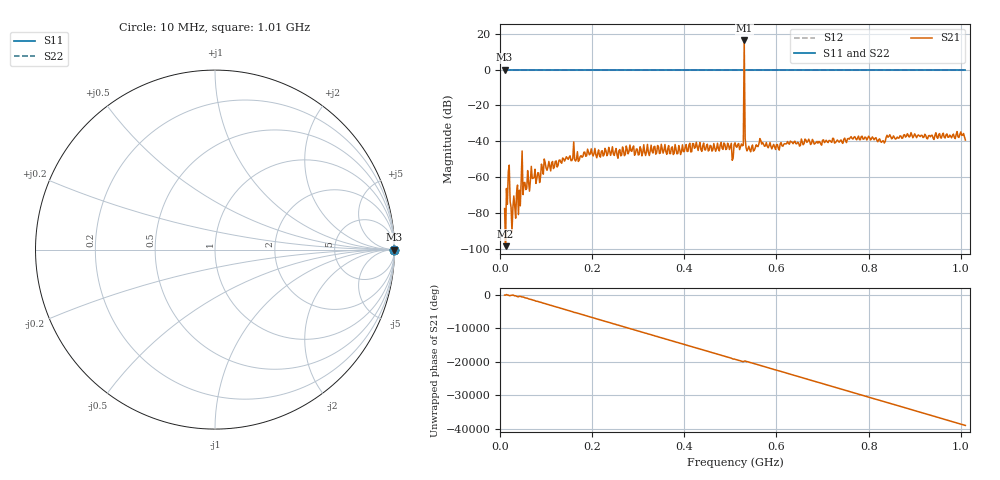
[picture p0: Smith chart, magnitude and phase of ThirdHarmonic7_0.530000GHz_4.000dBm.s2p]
! 8/17/2025 3:46:03 PM
! C:\ANRITSUVNA\TEMP\TEMP.S2P
! CHANNEL.1
! TR.MEASUREMENT
! RAW.DATA
! RF.CORRECTION.OFF
! AVERAGING.OFF
! IF.BANDWIDTH: 5KHZ
! SWEEPTYPE:  FREQ.SWEEP(Linear)
! Reference Plane Port Info
! PORT:  PORT1  PORT2
! DISTANCE:  0  m  0  m
! TIME:  0  s  0  s
! PHASE.OFFSET:  0  deg.  0  deg.
! LOSS:  0  dB  0  dB
! REF.LOSS:  0  dB  0  dB
! REF.FREQ:  0  Hz  0  Hz
! Power Info
! POWER:  -20  dBm  -20  dBm
! EFF.POWER:  -20  dBm  -20  dBm
! SOURCE.ATTEN:  0  dB  0  dB
! TEST.ATTEN:  0  dB  0  dB
# GHZ S RI R 50.0
! FREQ.GHZ  S11RE  S11IM  S21RE  S21IM  S12RE  S12IM  S22RE  S22IM
!; PortSelection: Port_12
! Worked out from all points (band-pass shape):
!   501 points, 10 MHz to 1.01 GHz, reference 50 ohm
!   highest |S21| = 16.28 dB at 530 MHz (marker M1); lowest = -98.6 dB at 12 MHz (marker M2)
!   |S21| within 3 dB of the highest: 529.8975 MHz to 530.1096 MHz (212.2 kHz wide, 0.04 % of centre)
!   lowest |S11| = 0.0 dB at 10 MHz (marker M3)
!   |S11| at or under -10 dB: nowhere
!   |S22| runs from 0.0 to 0.0 dB; largest |S21 - S12| = 5.5
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0.01  1 0  -0.000102 -8.38e-05  1 0  1 0
0.012  1 0  -9.6e-06 -6.8e-06  1 0  1 0
0.018  1 0  -0.000777 -0.00119  1 0  1 0
0.03  1 0  -0.000184 0.000233  1 0  1 0
0.042  1 0  -0.000229 -0.000363  1 0  1 0
0.05  1 0  0.0003 0.000122  1 0  1 0
0.054  1 0  -0.000568 0.000425  1 0  1 0
0.072  1 0  -0.000835 0.000429  1 0  1 0
0.082  1 0  -0.00098 0.000885  1 0  1 0
0.094  1 0  0.00117 -0.000274  1 0  1 0
0.178  1 0  -0.00344 -0.000904  1 0  1 0
0.344  1 0  0.0067 -0.00214  1 0  1 0
0.51  1 0  -0.00899 -0.00102  1 0  1 0
0.524  1 0  0.00834 -0.000897  1 0  1 0
0.526  1 0  -0.00249 -0.00707  1 0  1 0
0.53  1 0  6.401 -1.224  1 0  1 0
0.534  1 0  0.00216 -0.0062  1 0  1 0
0.536  1 0  -0.00382 -0.00383  1 0  1 0
0.678  1 0  0.00512 -0.01  1 0  1 0
0.832  1 0  -0.00635 -0.00807  1 0  1 0
0.844  1 0  -0.00651 0.012  1 0  1 0
1.01  1 0  0.00129 -0.0107  1 0  1 0
